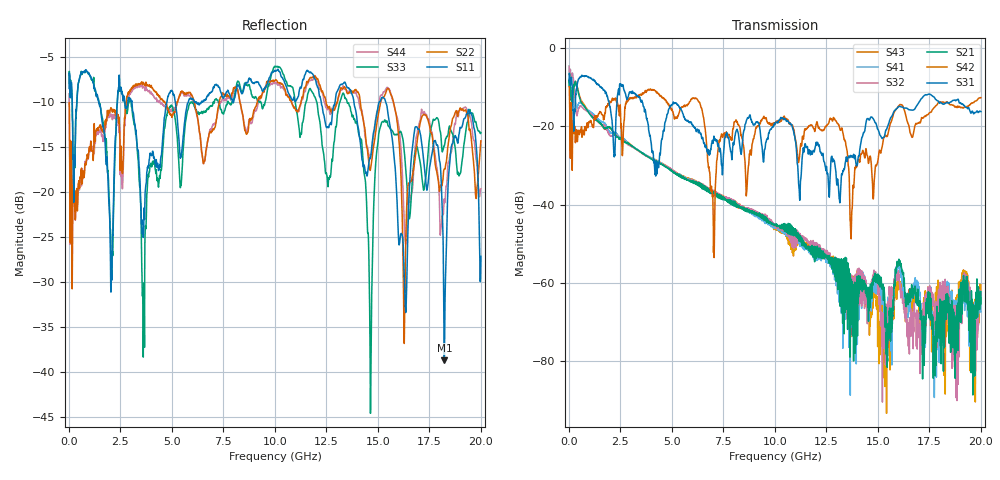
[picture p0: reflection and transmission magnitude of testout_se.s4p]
!Keysight Technologies PLTS 2017U1, Build 20170714.1
!FILE: G:\CAP1P_CBP1N_CAP1N_CBP1P.s4p
!$DUT_CFG_DESC: Default 4-Port Configuration
!$NUMBER_PORTS: 4
!$DIFF_PORT_MAP: 1|2P|2|2P|0|UC|0|UC|
!$PORT_MAP: 1|1|<<<<<<|2|2|>>>>>>|3|3|<<<<<<|4|4|>>>>>>|
!Date: Tuesday, August 29, 2017, 01:43:54
!S4P File: Measurements: <S11,S12,S13,S14>,
!<S21,S22,S23,S24>,
!<S31,S32,S33,S34>,
!<S41,S42,S43,S44>:
!Created with skrf (http://scikit-rf.org).
# MHz S RI R 50.0
!freq
! ReS14 ImS14
! ReS24 ImS24
! ReS34 ImS34
! ReS44 ImS44
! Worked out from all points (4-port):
!   2000 points, 10 MHz to 20 GHz, reference 50 ohm
!   strongest paths, dB at 10 MHz, 5.01 GHz, 10.01 GHz, 15.01 GHz, 20 GHz:
!     S31: -8.4, -14.5, -19.5, -20.9, -16.3
!     S42: -9.9, -15.7, -19.2, -28.5, -12.8
!     S21: -9.7, -31.5, -45.0, -59.1, -62.2
!     S32: -4.7, -31.2, -45.6, -62.9, -63.2
!     S41: -4.7, -31.6, -45.9, -62.9, -67.3
!     S43: -9.2, -31.1, -45.8, -69.9, -60.5
!   lowest |S11| = -38.7 dB at 18.23 GHz (marker M1), VSWR 1.02, Z = 49 - j0.525 ohm
!   |S11| at or under -10 dB: 3.062 GHz to 4.756 GHz (1.694 GHz wide, 43.3 % of centre); 13.84 GHz to 15.06 GHz (1.221 GHz wide, 8.45 % of centre); 15.38 GHz to end of sweep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
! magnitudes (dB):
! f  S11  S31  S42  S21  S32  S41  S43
! 10 MHz  -8.5  -8.4  -9.9  -9.7  -4.7  -4.7  -9.2
! 3.61 GHz  -25.1  -15.0  -11.8  -27.1  -27.1  -26.9  -27.1
! 6.19 GHz  -10.0  -21.4  -13.0  -34.9  -34.1  -34.1  -34.8
! 6.99 GHz  -8.5  -24.4  -38.8  -37.1  -36.5  -37.1  -36.9
! 8.1 GHz  -8.9  -21.6  -18.5  -39.8  -39.6  -40.2  -40.0
! 18.23 GHz  -38.7  -14.4  -14.0  -76.4  -60.6  -62.9  -70.6
! 20 GHz  -27.2  -16.3  -12.8  -62.2  -63.2  -67.3  -60.5
